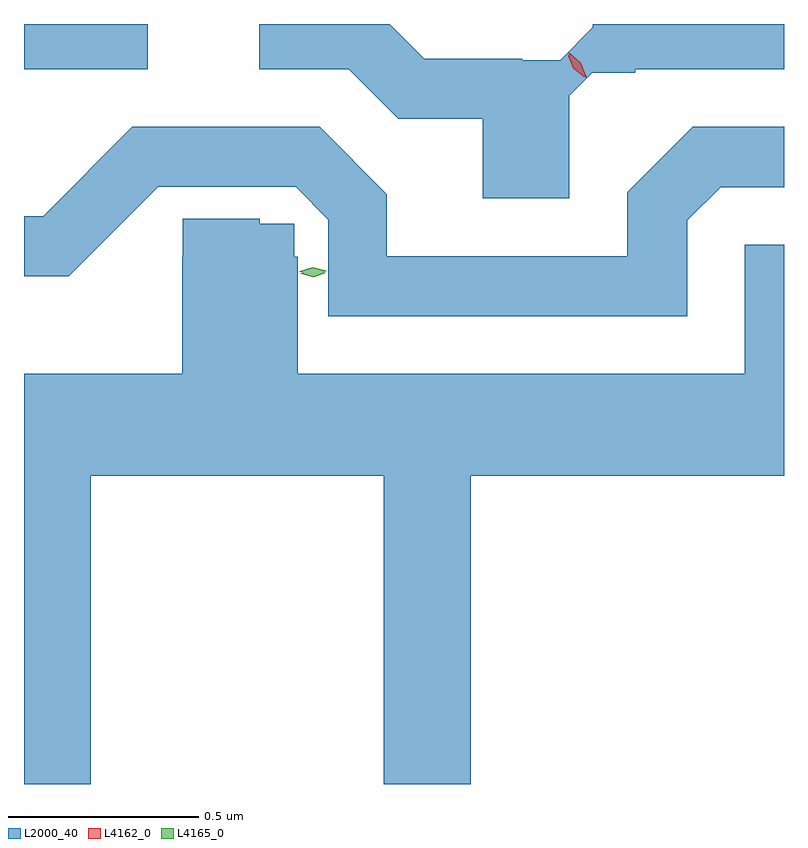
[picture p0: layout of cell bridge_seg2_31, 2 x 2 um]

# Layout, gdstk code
import gdstk
lib = gdstk.Library(unit=1e-6, precision=1e-09)
def R(c, l, rs):  # rectangles x0, y0, x1, y1
    for r in rs: c.add(gdstk.rectangle(r[:2], r[2:], *l))
def P(c, l, *ps):  # polygons
    for p in ps: c.add(gdstk.Polygon(p, *l))
L2000_40 = (2000, 40)
L4162_0 = (4162, 0)
L4165_0 = (4165, 0)

bridge_seg2_31 = lib.new_cell('bridge_seg2_31')
R(bridge_seg2_31, L2000_40, [(1686.514,1058.266,1686.839,1058.385)])
P(bridge_seg2_31, L2000_40, [(1687.949,1058.196),(1688.01,1058.257),(1688.123,1058.257),(1688.123,1058.266),(1688.514,1058.266),(1688.514,1058.385),(1688.011,1058.385),(1688.011,1058.376),(1687.925,1058.29),(1687.825,1058.29),(1687.825,1058.294),(1687.567,1058.294),(1687.476,1058.385),(1687.133,1058.385),(1687.133,1058.266),(1687.369,1058.266),(1687.499,1058.136),(1687.721,1058.136),(1687.721,1057.926),(1687.949,1057.926)],
  [(1688.259,1057.869),(1688.347,1057.956),(1688.514,1057.956),(1688.514,1058.114),(1688.274,1058.114),(1688.101,1057.942),(1688.101,1057.774),(1687.469,1057.774),(1687.469,1057.937),(1687.292,1058.114),(1686.799,1058.114),(1686.564,1057.879),(1686.514,1057.879),(1686.514,1057.721),(1686.632,1057.721),(1686.867,1057.957),(1687.229,1057.957),(1687.315,1057.87),(1687.315,1057.616),(1688.259,1057.616)],
  [(1686.689,1057.196),(1687.461,1057.196),(1687.461,1056.385),(1687.689,1056.385),(1687.689,1057.196),(1688.514,1057.196),(1688.514,1057.804),(1688.411,1057.804),(1688.411,1057.464),(1687.235,1057.464),(1687.235,1057.772),(1687.225,1057.772),(1687.225,1057.86),(1687.135,1057.86),(1687.135,1057.873),(1686.932,1057.873),(1686.932,1057.772),(1686.931,1057.772),(1686.931,1057.464),(1686.514,1057.464),(1686.514,1056.385),(1686.689,1056.385)])
P(bridge_seg2_31, L4162_0, [(1687.987,1058.246),(1687.959,1058.268),(1687.946,1058.302),(1687.946,1058.303),(1687.947,1058.303),(1687.975,1058.28),(1687.988,1058.247),(1687.988,1058.246)],
  [(1687.994,1058.243),(1687.994,1058.243),(1687.963,1058.271),(1687.947,1058.31),(1687.947,1058.311),(1687.948,1058.311),(1687.979,1058.283),(1687.995,1058.244)])
P(bridge_seg2_31, L4165_0, [(1687.275,1057.725),(1687.24,1057.733),(1687.239,1057.734),(1687.24,1057.734),(1687.274,1057.745),(1687.31,1057.736),(1687.31,1057.736),(1687.31,1057.735)],
  [(1687.276,1057.719),(1687.243,1057.728),(1687.242,1057.728),(1687.243,1057.729),(1687.275,1057.74),(1687.308,1057.731),(1687.308,1057.731),(1687.308,1057.73)])

lib.write_gds('bridge_seg2_31.gds')
